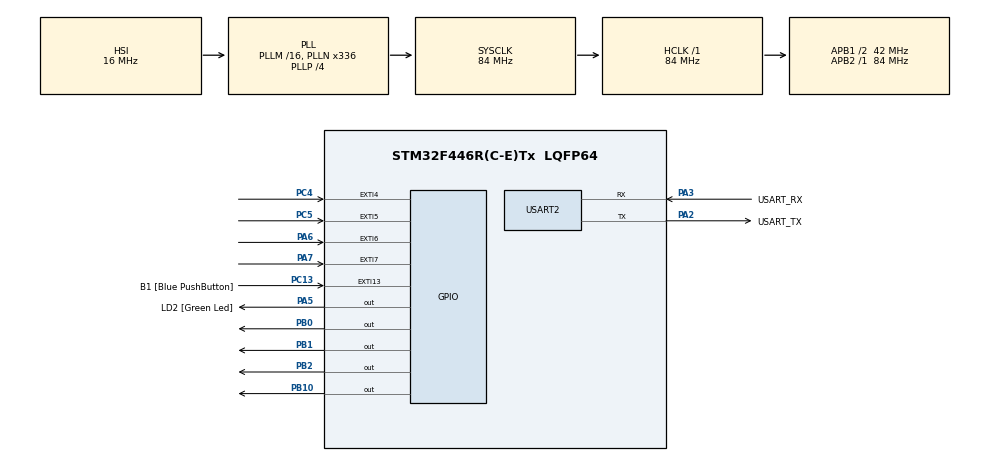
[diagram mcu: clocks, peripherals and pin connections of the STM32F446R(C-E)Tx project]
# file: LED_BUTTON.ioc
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Mcu.Family=STM32F4
Mcu.Name=STM32F446R(C-E)Tx
Mcu.Package=LQFP64
NVIC.EXTI15_10_IRQn=true\:0\:0\:false\:false\:true\:true\:true\:true
NVIC.EXTI4_IRQn=true\:0\:0\:false\:false\:true\:true\:true\:true
NVIC.EXTI9_5_IRQn=true\:0\:0\:false\:false\:true\:true\:true\:true
NVIC.PriorityGroup=NVIC_PRIORITYGROUP_0
PA13.GPIO_Label=TMS
PA13.Mode=Serial_Wire
PA13.Signal=SYS_JTMS-SWDIO
PA14.GPIO_Label=TCK
PA14.Mode=Serial_Wire
PA14.Signal=SYS_JTCK-SWCLK
PA2.GPIO_Label=USART_TX
PA2.Mode=Asynchronous
PA2.Signal=USART2_TX
PA3.GPIO_Label=USART_RX
PA3.Mode=Asynchronous
PA3.Signal=USART2_RX
PA5.GPIO_Label=LD2 [Green Led]
PA5.Signal=GPIO_Output
PA6.GPIO_ModeDefaultEXTI=GPIO_MODE_IT_FALLING
PA6.Signal=GPXTI6
PA7.GPIO_ModeDefaultEXTI=GPIO_MODE_IT_FALLING
PA7.Signal=GPXTI7
PB0.Signal=GPIO_Output
PB1.Signal=GPIO_Output
PB10.Signal=GPIO_Output
PB2.Signal=GPIO_Output
PB3.GPIO_Label=SWO
PB3.Signal=SYS_JTDO-SWO
PC13.GPIO_Label=B1 [Blue PushButton]
PC13.GPIO_ModeDefaultEXTI=GPIO_MODE_IT_FALLING
PC13.Signal=GPXTI13
PC14-OSC32_IN.Mode=LSE-External-Oscillator
PC14-OSC32_IN.Signal=RCC_OSC32_IN
PC15-OSC32_OUT.Mode=LSE-External-Oscillator
PC15-OSC32_OUT.Signal=RCC_OSC32_OUT
PC4.GPIO_ModeDefaultEXTI=GPIO_MODE_IT_FALLING
PC4.Signal=GPXTI4
PC5.GPIO_ModeDefaultEXTI=GPIO_MODE_IT_FALLING
PC5.Signal=GPXTI5
PH0-OSC_IN.Mode=HSE-External-Oscillator
PH0-OSC_IN.Signal=RCC_OSC_IN
PH1-OSC_OUT.Mode=HSE-External-Oscillator
PH1-OSC_OUT.Signal=RCC_OSC_OUT
ProjectManager.HeapSize=0x200
ProjectManager.StackSize=0x400
ProjectManager.TargetToolchain=STM32CubeIDE
RCC.48MHZClocksFreq_Value=84000000
RCC.AHBFreq_Value=84000000
RCC.APB1CLKDivider=RCC_HCLK_DIV2
RCC.APB1Freq_Value=42000000
RCC.APB1TimFreq_Value=84000000
RCC.APB2Freq_Value=84000000
RCC.APB2TimFreq_Value=84000000
RCC.CortexFreq_Value=84000000
RCC.FLatency-AdvancedSettings=FLASH_LATENCY_2
RCC.HCLKFreq_Value=84000000
RCC.HSE_VALUE=8000000
RCC.HSI_VALUE=16000000
RCC.PLLN=336
RCC.PLLP=RCC_PLLP_DIV4
RCC.SYSCLKFreq_VALUE=84000000
RCC.SYSCLKSource=RCC_SYSCLKSOURCE_PLLCLK
RCC.USBFreq_Value=168000000
RCC.VCOOutputFreq_Value=336000000
USART2.VirtualMode=VM_ASYNC
board=NUCLEO-F446RE

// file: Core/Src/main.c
/* USER CODE BEGIN Header */
/**
  ******************************************************************************
  * @file           : main.c
  * @brief          : Main program body
  ******************************************************************************
  * @attention
  *
  * Copyright (c) 2024 STMicroelectronics.
  * All rights reserved.
  *
  * This software is licensed under terms that can be found in the LICENSE file
  * in the root directory of this software component.
  * If no LICENSE file comes with this software, it is provided AS-IS.
  *
  ******************************************************************************
  */
/* USER CODE END Header */
#include "main.h"

UART_HandleTypeDef huart2;

void SystemClock_Config(void);
static void MX_GPIO_Init(void);
static void MX_USART2_UART_Init(void);

/* USER CODE BEGIN 0 */
typedef enum {
  STATE_IDLE,
  STATE_RUNNING,
  STATE_SEQUENCE,
  STATE_ERROR
} State;
State state;
int currentstate;
currentstate = STATE_IDLE;

uint32_t cmp;
char s[50];
/* USER CODE END 0 */

int kannankck(void)
{

  /* MCU Configuration--------------------------------------------------------*/

  /* Reset of all peripherals, Initializes the Flash interface and the Systick. */
  HAL_Init();

  /* Configure the system clock */
  SystemClock_Config();

  /* Initialize all configured peripherals */
  MX_GPIO_Init();
  MX_USART2_UART_Init();

  /* Infinite loop */
  /* USER CODE BEGIN WHILE */
  while (1)
  {
	  HAL_GPIO_WritePin(GPIOB, GPIO_PIN_0, 1);
    /* USER CODE END WHILE */

    /* USER CODE BEGIN 3 */

	 // sprintf(s,"start = %d\r\n",start);
	 	//  	  	HAL_UART_Transmit(&huart2, s, strlen(s), 100);

  }
  /* USER CODE END 3 */
}

void SystemClock_Config(void)
{
  RCC_OscInitTypeDef RCC_OscInitStruct = {0};
  RCC_ClkInitTypeDef RCC_ClkInitStruct = {0};

  /** Configure the main internal regulator output voltage
  */
  __HAL_RCC_PWR_CLK_ENABLE();
  __HAL_PWR_VOLTAGESCALING_CONFIG(PWR_REGULATOR_VOLTAGE_SCALE3);

  /** Initializes the RCC Oscillators according to the specified parameters
  * in the RCC_OscInitTypeDef structure.
  */
  RCC_OscInitStruct.OscillatorType = RCC_OSCILLATORTYPE_HSI;
  RCC_OscInitStruct.HSIState = RCC_HSI_ON;
  RCC_OscInitStruct.HSICalibrationValue = RCC_HSICALIBRATION_DEFAULT;
  RCC_OscInitStruct.PLL.PLLState = RCC_PLL_ON;
  RCC_OscInitStruct.PLL.PLLSource = RCC_PLLSOURCE_HSI;
  RCC_OscInitStruct.PLL.PLLM = 16;
  RCC_OscInitStruct.PLL.PLLN = 336;
  RCC_OscInitStruct.PLL.PLLP = RCC_PLLP_DIV4;
  RCC_OscInitStruct.PLL.PLLQ = 2;
  RCC_OscInitStruct.PLL.PLLR = 2;
  if (HAL_RCC_OscConfig(&RCC_OscInitStruct) != HAL_OK)
  {
    Error_Handler();
  }

  /** Initializes the CPU, AHB and APB buses clocks
  */
  RCC_ClkInitStruct.ClockType = RCC_CLOCKTYPE_HCLK|RCC_CLOCKTYPE_SYSCLK
                              |RCC_CLOCKTYPE_PCLK1|RCC_CLOCKTYPE_PCLK2;
  RCC_ClkInitStruct.SYSCLKSource = RCC_SYSCLKSOURCE_PLLCLK;
  RCC_ClkInitStruct.AHBCLKDivider = RCC_SYSCLK_DIV1;
  RCC_ClkInitStruct.APB1CLKDivider = RCC_HCLK_DIV2;
  RCC_ClkInitStruct.APB2CLKDivider = RCC_HCLK_DIV1;

  if (HAL_RCC_ClockConfig(&RCC_ClkInitStruct, FLASH_LATENCY_2) != HAL_OK)
  {
    Error_Handler();
  }
}

static void MX_USART2_UART_Init(void)
{

  huart2.Instance = USART2;
  huart2.Init.BaudRate = 9600;
  huart2.Init.WordLength = UART_WORDLENGTH_8B;
  huart2.Init.StopBits = UART_STOPBITS_1;
  huart2.Init.Parity = UART_PARITY_NONE;
  huart2.Init.Mode = UART_MODE_TX_RX;
  huart2.Init.HwFlowCtl = UART_HWCONTROL_NONE;
  huart2.Init.OverSampling = UART_OVERSAMPLING_16;
  if (HAL_UART_Init(&huart2) != HAL_OK)
  {
    Error_Handler();
  }

}

static void MX_GPIO_Init(void)
{
  GPIO_InitTypeDef GPIO_InitStruct = {0};

  /* GPIO Ports Clock Enable */
  __HAL_RCC_GPIOC_CLK_ENABLE();
  __HAL_RCC_GPIOH_CLK_ENABLE();
  __HAL_RCC_GPIOA_CLK_ENABLE();
  __HAL_RCC_GPIOB_CLK_ENABLE();

  /*Configure GPIO pin Output Level */
  HAL_GPIO_WritePin(LD2_GPIO_Port, LD2_Pin, GPIO_PIN_RESET);

  /*Configure GPIO pin Output Level */
  HAL_GPIO_WritePin(GPIOB, GPIO_PIN_0|GPIO_PIN_1|GPIO_PIN_2|GPIO_PIN_10, GPIO_PIN_RESET);

  /*Configure GPIO pins : B1_Pin PC4 PC5 */
  GPIO_InitStruct.Pin = B1_Pin|GPIO_PIN_4|GPIO_PIN_5;
  GPIO_InitStruct.Mode = GPIO_MODE_IT_RISING;
  GPIO_InitStruct.Pull = GPIO_PULLDOWN;
  HAL_GPIO_Init(GPIOC, &GPIO_InitStruct);

  /*Configure GPIO pin : LD2_Pin */
  GPIO_InitStruct.Pin = LD2_Pin;
  GPIO_InitStruct.Mode = GPIO_MODE_OUTPUT_PP;
  GPIO_InitStruct.Pull = GPIO_NOPULL;
  GPIO_InitStruct.Speed = GPIO_SPEED_FREQ_LOW;
  HAL_GPIO_Init(LD2_GPIO_Port, &GPIO_InitStruct);

  /*Configure GPIO pins : PA6 PA7 */
  GPIO_InitStruct.Pin = GPIO_PIN_6|GPIO_PIN_7;
  GPIO_InitStruct.Mode = GPIO_MODE_IT_RISING;
  GPIO_InitStruct.Pull = GPIO_PULLDOWN;
  HAL_GPIO_Init(GPIOA, &GPIO_InitStruct);

  /*Configure GPIO pins : PB0 PB1 PB2 PB10 */
  GPIO_InitStruct.Pin = GPIO_PIN_0|GPIO_PIN_1|GPIO_PIN_2|GPIO_PIN_10;
  GPIO_InitStruct.Mode = GPIO_MODE_OUTPUT_PP;
  GPIO_InitStruct.Pull = GPIO_NOPULL;
  GPIO_InitStruct.Speed = GPIO_SPEED_FREQ_LOW;
  HAL_GPIO_Init(GPIOB, &GPIO_InitStruct);

  /* EXTI interrupt init*/
  HAL_NVIC_SetPriority(EXTI4_IRQn, 0, 0);
  HAL_NVIC_EnableIRQ(EXTI4_IRQn);

  HAL_NVIC_SetPriority(EXTI9_5_IRQn, 0, 0);
  HAL_NVIC_EnableIRQ(EXTI9_5_IRQn);

  HAL_NVIC_SetPriority(EXTI15_10_IRQn, 0, 0);
  HAL_NVIC_EnableIRQ(EXTI15_10_IRQn);

}

/* USER CODE BEGIN 4 */
void HAL_GPIO_EXTI_Callback(uint16_t GPIO_Pin)
{
	uint32_t n;
	uint32_t start = HAL_GetTick();
  /* Prevent unused argument(s) compilation warning *///GPIO_PIN_6|GPIO_PIN_7 GPIO_PIN_4|GPIO_PIN_5;
  if(GPIO_Pin == GPIO_PIN_6){
	  if(currentstate == STATE_IDLE)
	  statehandle(STATE_RUNNING);
	  else
		  statehandle(STATE_IDLE);

  }
	   if (GPIO_Pin == GPIO_PIN_7){

	  while(!(HAL_GPIO_ReadPin(GPIOA, GPIO_PIN_7)==0)){
	  	  		n = HAL_GetTick();
	  	  	sprintf(s,"n = %d,start = %d\r\n",n,start);
	  	  		  	  	HAL_UART_Transmit(&huart2, s, strlen(s), 100);

	  	  	}
	  if((HAL_GetTick()-n)>2400){
	  statehandle(STATE_IDLE);
	  }
	  cmp =HAL_GetTick()-n;
	  sprintf(s,"cmp = %d\r\n",cmp);
	  	  	HAL_UART_Transmit(&huart2, s, strlen(s), 100);

  }
	   if (GPIO_Pin == GPIO_PIN_4 ){
	  if(currentstate == STATE_RUNNING)
		  statehandle(STATE_SEQUENCE);
	  else if(currentstate == STATE_SEQUENCE)
		  statehandle (STATE_RUNNING);

  }
	   if (GPIO_Pin == GPIO_PIN_5){

	  while(!(HAL_GPIO_ReadPin(GPIOA, GPIO_PIN_5)==0)){
	  		n = HAL_GetTick();
	  	}

	  	if( (n - start)>1500){
	  statehandle(STATE_ERROR);
	  	}
	  	cmp = start-n;
	  	sprintf(s,"%d,%d\r\n",start,n);
	  	HAL_UART_Transmit(&huart2, s, strlen(s), 100);
  }

  /* NOTE: This function Should not be modified, when the callback is needed,
           the HAL_GPIO_EXTI_Callback could be implemented in the user file
   */
}

void statehandle(State state){
	switch (currentstate) {
		case STATE_IDLE:
			if(state == STATE_RUNNING){
				HAL_GPIO_WritePin(GPIOB, GPIO_PIN_0, 1);
				HAL_GPIO_WritePin(GPIOB, GPIO_PIN_1, 1);
				currentstate = STATE_RUNNING;
			}
			else if (state==STATE_SEQUENCE ){
				HAL_GPIO_TogglePin( GPIOB, GPIO_PIN_2);
			    currentstate = STATE_SEQUENCE;
			}

			else if (state == STATE_ERROR && cmp>1500){
				HAL_GPIO_WritePin( GPIOB, GPIO_PIN_10, 1);
				currentstate = STATE_ERROR;

			}

			break;
		case STATE_RUNNING:
			if((state==STATE_IDLE)){
				HAL_GPIO_WritePin(GPIOB, GPIO_PIN_0, 0);
			    HAL_GPIO_WritePin( GPIOB, GPIO_PIN_1, 0);
			    currentstate = STATE_IDLE;
			}
			else if ((state == STATE_SEQUENCE) ){

							HAL_GPIO_TogglePin( GPIOB, GPIO_PIN_2);
							currentstate = STATE_SEQUENCE;
						}
			else if ((state == STATE_ERROR) &&(cmp>1500)){
							HAL_GPIO_WritePin( GPIOB, GPIO_PIN_10, 1);
							currentstate = STATE_ERROR;
						}

			break;
		case STATE_SEQUENCE:
					if(state==STATE_IDLE){
						HAL_GPIO_WritePin(GPIOB, GPIO_PIN_0, 0);
												HAL_GPIO_WritePin( GPIOB, GPIO_PIN_1, 0);
												currentstate = STATE_IDLE;
					}
					else if (state == STATE_RUNNING){
						HAL_GPIO_WritePin(GPIOB, GPIO_PIN_0, 1);
										HAL_GPIO_WritePin(GPIOB, GPIO_PIN_1, 1);
										currentstate = STATE_RUNNING;
										HAL_GPIO_WritePin(GPIOB, GPIO_PIN_2, 0);
					}
					else if (state == STATE_ERROR){
									HAL_GPIO_WritePin( GPIOB, GPIO_PIN_10, 1);
									currentstate = STATE_ERROR;
								}

					break;

		case STATE_ERROR:
					if(state==STATE_IDLE){
						HAL_GPIO_WritePin(GPIOB, GPIO_PIN_0, 0);
						HAL_GPIO_WritePin( GPIOB, GPIO_PIN_1, 0);
						currentstate = STATE_IDLE;
					}
					else if (state == STATE_SEQUENCE){

									HAL_GPIO_TogglePin( GPIOB, GPIO_PIN_2);
									currentstate = STATE_SEQUENCE;
								}
					else if (state == STATE_RUNNING){
									HAL_GPIO_WritePin(GPIOB, GPIO_PIN_0, 1);
								    HAL_GPIO_WritePin(GPIOB, GPIO_PIN_1, 1);
									currentstate = STATE_RUNNING ;

								}
	}

}
/* USER CODE END 4 */

void Error_Handler(void)
{
  __disable_irq();
  while (1)
  {
  }
}
